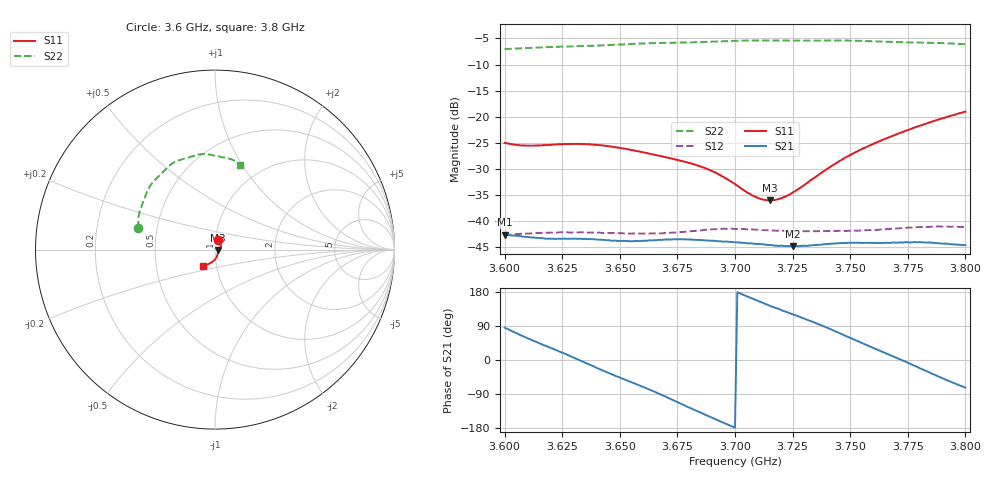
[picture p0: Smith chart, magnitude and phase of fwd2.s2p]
#  HZ  S  DB  R  50.00
! Rohde & Schwarz ZVB8 2Ports - Version 3.70 - 1145.1010k08 SN: 100925
! Date: 2017-03-03 16:09:10
! Measurements: S11 S21 S12 S22
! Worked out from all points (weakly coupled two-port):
!   201 points, 3.6 GHz to 3.8 GHz, reference 50 ohm
!   highest |S21| = -42.61 dB at 3.6 GHz (marker M1); lowest = -44.8 dB at 3.725 GHz (marker M2)
!   lowest |S11| = -36.0 dB at 3.715 GHz (marker M3), VSWR 1.03, Z = 51.6 - j0.363 ohm
!   |S11| at or under -10 dB: start of sweep to end of sweep
!   |S22| runs from -7.0 to -5.4 dB; largest |S21 - S12| = 0.003
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3.6e9  -24.99 72.4  -42.61 85.7  -42.67 102.4  -7.05 164.4
3.606e9  -25.44 76.5  -42.82 68.3  -42.44 86.2  -6.93 161.7
3.611e9  -25.55 79.3  -43.08 54.7  -42.36 72.3  -6.81 159.5
3.618e9  -25.43 80.6  -43.37 36.9  -42.21 52.9  -6.68 156.7
3.634e9  -25.22 71.8  -43.42 -4.5  -42.13 8.0  -6.47 149.7
3.648e9  -25.82 57.0  -43.71 -41.7  -42.28 -30.1  -6.22 142.6
3.655e9  -26.35 49.4  -43.85 -58.7  -42.38 -48.0  -6.06 139.3
3.667e9  -27.46 38.1  -43.56 -89.1  -42.33 -78.3  -5.87 134.3
3.68e9  -28.82 26.5  -43.51 -125.2  -41.93 -112.0  -5.77 128.0
3.686e9  -29.67 20.0  -43.64 -141.6  -41.72 -128.3  -5.69 124.9
3.692e9  -30.80 12.7  -43.82 -157.7  -41.54 -145.4  -5.59 121.8
3.7e9  -32.90 2.6  -44.03 -178.7  -41.49 -168.4  -5.46 118.3
3.709e9  -35.38 -6.6  -44.35 158.2  -41.62 166.1  -5.40 114.7
3.712e9  -35.85 -9.5  -44.42 151.1  -41.72 158.1  -5.40 113.5
3.715e9  -36.02 -12.9  -44.56 143.7  -41.75 149.9  -5.41 112.1
3.72e9  -35.62 -20.7  -44.68 132.1  -41.85 137.1  -5.43 109.8
3.725e9  -34.54 -30.9  -44.79 120.7  -41.90 124.2  -5.44 107.3
3.734e9  -31.83 -50.7  -44.60 99.8  -41.91 100.5  -5.42 102.8
3.749e9  -27.56 -77.1  -44.14 61.3  -41.83 61.9  -5.42 96.5
3.767e9  -23.91 -98.3  -44.18 13.8  -41.51 14.9  -5.67 88.3
3.78e9  -21.75 -110.4  -44.00 -21.0  -41.15 -21.8  -5.78 81.8
3.8e9  -19.02 -126.2  -44.58 -73.0  -41.14 -79.8  -6.12 73.6
